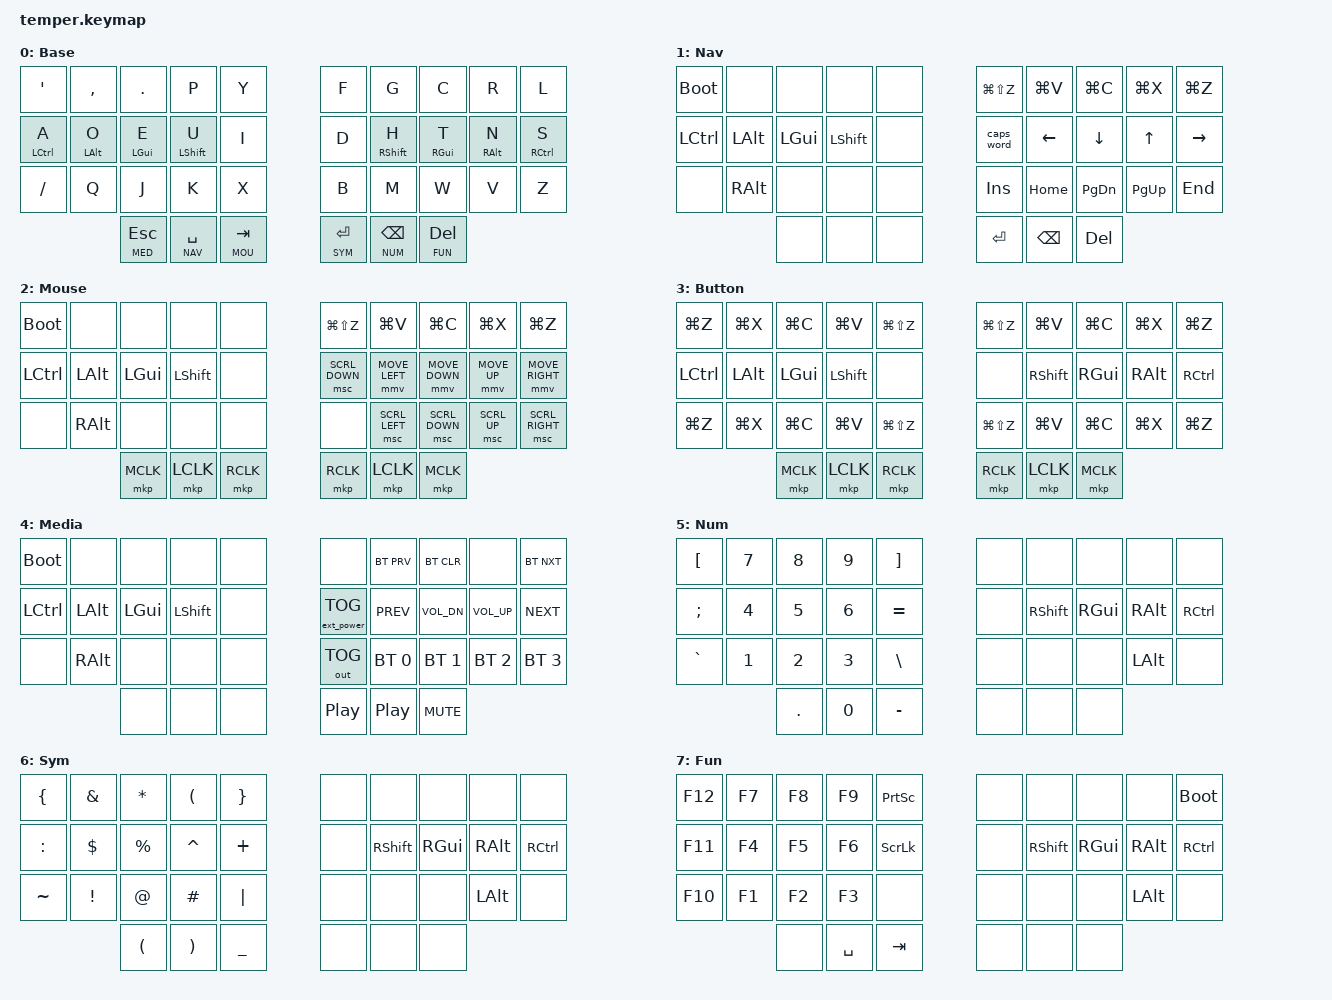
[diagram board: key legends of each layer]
/*
 * Copyright (c) 2020 The ZMK Contributors
 *
 * SPDX-License-Identifier: MIT
 */

#include <behaviors.dtsi>
#include <dt-bindings/zmk/keys.h>
#include <dt-bindings/zmk/bt.h>
#include <dt-bindings/zmk/ext_power.h>
#include <dt-bindings/zmk/outputs.h>
#include <dt-bindings/zmk/pointing.h>

#include "zmk-helpers/helper.h"
#include "zmk-helpers/key-labels/36.h"

#define QUICK_TAP_MS 175

#define BAS 0
#define NAV 1
#define MOU 2
#define BUT 3
#define MED 4
#define NUM 5
#define SYM 6
#define FUN 7

#define HRM_A &hml LEFT_CONTROL A
#define HRM_O &hml LEFT_ALT O
#define HRM_E &hml LEFT_GUI E
#define HRM_U &hml LEFT_SHIFT U

#define HRM_H &hmr RIGHT_SHIFT H
#define HRM_T &hmr RIGHT_GUI T
#define HRM_N &hmr RIGHT_ALT N
#define HRM_S &hmr RIGHT_CONTROL S

#define ESC_MED &lt MED ESC
#define SPA_NAV &lt NAV SPACE
#define TAB_MOU &lt MOU TAB
#define RET_SYM &lt SYM RET
#define BSC_NUM &lt NUM BSPC
#define DEL_FUN &lt FUN DEL

#define _COPY  &kp LG(C)
#define _PASTE &kp LG(V)
#define _CUT   &kp LG(X)
#define _UNDO  &kp LG(Z)
#define _REDO  &kp LG(LS(Z))

#define KEYS_L LT0 LT1 LT2 LT3 LT4 LM0 LM1 LM2 LM3 LM4 LB0 LB1 LB2 LB3 LB4
#define KEYS_R RT0 RT1 RT2 RT3 RT4 RM0 RM1 RM2 RM3 RM4 RB0 RB1 RB2 RB3 RB4
#define THUMBS LH2 LH1 LH0 RH0 RH1 RH2 // Thumbs on 36+ keys.

&lt {
  flavor = "balanced";
  tapping-term-ms = <200>;
  quick-tap-ms = <QUICK_TAP_MS>;
};

/ {
        behaviors {
                hml: home_row_mod_left {
                        compatible = "zmk,behavior-hold-tap";
                        #binding-cells = <2>;
                        flavor = "balanced";
                        require-prior-idle-ms = <150>;
                        tapping-term-ms = <280>;
                        quick-tap-ms = <175>;
                        bindings = <&kp>, <&kp>;
                        hold-trigger-key-positions = <KEYS_R THUMBS>; // List of keys on the right side of the keyboard
                        hold-trigger-on-release;
                };
                hmr: home_row_mod_right {
                        compatible = "zmk,behavior-hold-tap";
                        #binding-cells = <2>;
                        flavor = "balanced";
                        require-prior-idle-ms = <150>;
                        tapping-term-ms = <280>;
                        quick-tap-ms = <175>;
                        bindings = <&kp>, <&kp>;
                        hold-trigger-key-positions = <KEYS_L THUMBS>; // List of keys on the left side of the keyboard
                        hold-trigger-on-release;
                };
        };
        keymap {
                compatible = "zmk,keymap";

                base_layer {
                        display-name = "Base";
                        bindings = <
// ╭─────────────┬─────────────┬─────────────┬─────────────┬─────────────╮   ╭─────────────┬─────────────┬─────────────┬─────────────┬─────────────╮
      &kp QUOT      &kp COMMA    &kp PERIOD       &kp P         &kp Y             &kp F         &kp G         &kp C         &kp R         &kp L
// ├─────────────┼─────────────┼─────────────┼─────────────┼─────────────┤   ├─────────────┼─────────────┼─────────────┼─────────────┼─────────────┤
        HRM_A         HRM_O         HRM_E         HRM_U         &kp I             &kp D         HRM_H         HRM_T         HRM_N         HRM_S
// ├─────────────┼─────────────┼─────────────┼─────────────┼─────────────┤   ├─────────────┼─────────────┼─────────────┼─────────────┼─────────────┤
     &kp SLASH        &kp Q         &kp J         &kp K         &kp X             &kp B         &kp M         &kp W         &kp V         &kp Z
// ╰─────────────┴─────────────┼─────────────┼─────────────┼─────────────┤   ├─────────────┼─────────────┼─────────────┼─────────────┴─────────────╯
                                   ESC_MED       SPA_NAV       TAB_MOU           RET_SYM       BSC_NUM       DEL_FUN
//                             ╰─────────────┴─────────────┴─────────────╯   ╰─────────────┴─────────────┴─────────────╯
                        >;
                };
                nav_layer {
                        display-name = "Nav";
                        bindings = <
// ╭─────────────┬─────────────┬─────────────┬─────────────┬─────────────╮   ╭─────────────┬─────────────┬─────────────┬─────────────┬─────────────╮
     &bootloader      &none         &none         &none         &none             _REDO        _PASTE         _COPY         _CUT          _UNDO
// ├─────────────┼─────────────┼─────────────┼─────────────┼─────────────┤   ├─────────────┼─────────────┼─────────────┼─────────────┼─────────────┤
      &kp LCTRL      &kp LALT      &kp LGUI     &kp LSHFT       &none           &caps_word     &kp LEFT      &kp DOWN       &kp UP      &kp RIGHT
// ├─────────────┼─────────────┼─────────────┼─────────────┼─────────────┤   ├─────────────┼─────────────┼─────────────┼─────────────┼─────────────┤
        &none        &kp RALT       &none         &none         &none            &kp INS      &kp HOME      &kp PG_DN     &kp PG_UP      &kp END
// ╰─────────────┴─────────────┼─────────────┼─────────────┼─────────────┤   ├─────────────┼─────────────┼─────────────┼─────────────┴─────────────╯
                                    &none         &none         &none             &kp RET     &kp BSPC       &kp DEL
//                             ╰─────────────┴─────────────┴─────────────╯   ╰─────────────┴─────────────┴─────────────╯
                        >;
                };
                mouse_layer {
                        display-name = "Mouse";
                        bindings = <
// ╭─────────────┬─────────────┬─────────────┬─────────────┬─────────────╮   ╭─────────────┬─────────────┬─────────────┬─────────────┬─────────────╮
     &bootloader      &none         &none         &none         &none             _REDO        _PASTE         _COPY         _CUT          _UNDO
// ├─────────────┼─────────────┼─────────────┼─────────────┼─────────────┤   ├─────────────┼─────────────┼─────────────┼─────────────┼─────────────┤
      &kp LCTRL     &kp LALT      &kp LGUI      &kp LSHFT       &none        &msc SCRL_DOWN &mmv MOVE_LEFT &mmv MOVE_DOWN &mmv MOVE_UP &mmv MOVE_RIGHT
// ├─────────────┼─────────────┼─────────────┼─────────────┼─────────────┤   ├─────────────┼─────────────┼─────────────┼─────────────┼─────────────┤
        &none        &kp RALT       &none         &none         &none             &none     &msc SCRL_LEFT &msc SCRL_DOWN &msc SCRL_UP &msc SCRL_RIGHT
// ╰─────────────┴─────────────┼─────────────┼─────────────┼─────────────┤   ├─────────────┼─────────────┼─────────────┼─────────────┴─────────────╯
                                  &mkp MCLK     &mkp LCLK     &mkp RCLK         &mkp RCLK     &mkp LCLK     &mkp MCLK
//                             ╰─────────────┴─────────────┴─────────────╯   ╰─────────────┴─────────────┴─────────────╯
                        >;
                };
                button_layer {
                        display-name = "Button";
                        bindings = <
// ╭─────────────┬─────────────┬─────────────┬─────────────┬─────────────╮   ╭─────────────┬─────────────┬─────────────┬─────────────┬─────────────╮
        _UNDO         _CUT          _COPY        _PASTE         _REDO             _REDO        _PASTE         _COPY          _CUT         _UNDO
// ├─────────────┼─────────────┼─────────────┼─────────────┼─────────────┤   ├─────────────┼─────────────┼─────────────┼─────────────┼─────────────┤
      &kp LCTRL      &kp LALT      &kp LGUI     &kp LSHFT       &none             &none       &kp RSHFT      &kp RGUI     &kp RALT     &kp RCTRL
// ├─────────────┼─────────────┼─────────────┼─────────────┼─────────────┤   ├─────────────┼─────────────┼─────────────┼─────────────┼─────────────┤
        _UNDO         _CUT          _COPY        _PASTE         _REDO             _REDO        _PASTE         _COPY          _CUT         _UNDO
// ╰─────────────┴─────────────┼─────────────┼─────────────┼─────────────┤   ├─────────────┼─────────────┼─────────────┼─────────────┴─────────────╯
                                  &mkp MCLK     &mkp LCLK     &mkp RCLK         &mkp RCLK     &mkp LCLK     &mkp MCLK
//                             ╰─────────────┴─────────────┴─────────────╯   ╰─────────────┴─────────────┴─────────────╯
                        >;
                };
                media_layer {
                        display-name = "Media";
                        bindings = <
// ╭─────────────┬─────────────┬─────────────┬─────────────┬─────────────╮   ╭─────────────┬─────────────┬─────────────┬─────────────┬─────────────╮
     &bootloader      &none         &none         &none         &none             &none       &bt BT_PRV    &bt BT_CLR      &none       &bt BT_NXT
// ├─────────────┼─────────────┼─────────────┼─────────────┼─────────────┤   ├─────────────┼─────────────┼─────────────┼─────────────┼─────────────┤
      &kp LCTRL     &kp LALT      &kp LGUI      &kp LSHFT       &none      &ext_power EP_TOG  &kp C_PREV   &kp C_VOL_DN &kp C_VOL_UP    &kp C_NEXT
// ├─────────────┼─────────────┼─────────────┼─────────────┼─────────────┤   ├─────────────┼─────────────┼─────────────┼─────────────┼─────────────┤
        &none        &kp RALT       &none         &none         &none         &out OUT_TOG   &bt BT_SEL 0  &bt BT_SEL 1  &bt BT_SEL 2  &bt BT_SEL 3
// ╰─────────────┴─────────────┼─────────────┼─────────────┼─────────────┤   ├─────────────┼─────────────┼─────────────┼─────────────┴─────────────╯
                                    &none         &none         &none           &kp C_PP      &kp C_PP     &kp C_MUTE
//                             ╰─────────────┴─────────────┴─────────────╯   ╰─────────────┴─────────────┴─────────────╯
                        >;
                };
                num_layer {
                        display-name = "Num";
                        bindings = <
// ╭─────────────┬─────────────┬─────────────┬─────────────┬─────────────╮   ╭─────────────┬─────────────┬─────────────┬─────────────┬─────────────╮
       &kp LBKT       &kp N7       &kp N8        &kp N9       &kp RBKT            &none         &none         &none         &none         &none
// ├─────────────┼─────────────┼─────────────┼─────────────┼─────────────┤   ├─────────────┼─────────────┼─────────────┼─────────────┼─────────────┤
       &kp SEMI       &kp N4       &kp N5        &kp N6       &kp EQUAL           &none       &kp RSHFT     &kp RGUI      &kp RALT      &kp RCTRL
// ├─────────────┼─────────────┼─────────────┼─────────────┼─────────────┤   ├─────────────┼─────────────┼─────────────┼─────────────┼─────────────┤
      &kp GRAVE       &kp N1       &kp N2        &kp N3       &kp BSLH            &none         &none         &none        &kp LALT       &none
// ╰─────────────┴─────────────┼─────────────┼─────────────┼─────────────┤   ├─────────────┼─────────────┼─────────────┼─────────────┴─────────────╯
                                   &kp DOT       &kp N0       &kp MINUS           &none         &none         &none
//                             ╰─────────────┴─────────────┴─────────────╯   ╰─────────────┴─────────────┴─────────────╯
                        >;
                };
                sym_layer {
                        display-name = "Sym";
                        bindings = <
// ╭─────────────┬─────────────┬─────────────┬─────────────┬─────────────╮   ╭─────────────┬─────────────┬─────────────┬─────────────┬─────────────╮
        &kp LBRC     &kp AMPS     &kp STAR      &kp LPAR      &kp RBRC            &none         &none         &none         &none         &none
// ├─────────────┼─────────────┼─────────────┼─────────────┼─────────────┤   ├─────────────┼─────────────┼─────────────┼─────────────┼─────────────┤
      &kp COLON      &kp DLLR     &kp PRCNT     &kp CARET     &kp PLUS            &none       &kp RSHFT     &kp RGUI       &kp RALT     &kp RCTRL
// ├─────────────┼─────────────┼─────────────┼─────────────┼─────────────┤   ├─────────────┼─────────────┼─────────────┼─────────────┼─────────────┤
      &kp TILDE     &kp EXCL       &kp AT       &kp POUND     &kp PIPE            &none         &none         &none        &kp LALT       &none
// ╰─────────────┴─────────────┼─────────────┼─────────────┼─────────────┤   ├─────────────┼─────────────┼─────────────┼─────────────┴─────────────╯
                                  &kp LPAR      &kp RPAR      &kp UNDER           &none         &none         &none
//                             ╰─────────────┴─────────────┴─────────────╯   ╰─────────────┴─────────────┴─────────────╯
                        >;
                };
                fun_layer {
                        display-name = "Fun";
                        bindings = <
// ╭─────────────┬─────────────┬─────────────┬─────────────┬─────────────╮   ╭─────────────┬─────────────┬─────────────┬─────────────┬─────────────╮
        &kp F12      &kp F7        &kp F8        &kp F9       &kp PSCRN           &none         &none         &none         &none      &bootloader
// ├─────────────┼─────────────┼─────────────┼─────────────┼─────────────┤   ├─────────────┼─────────────┼─────────────┼─────────────┼─────────────┤
        &kp F11      &kp F4        &kp F5        &kp F6       &kp SLCK            &none       &kp RSHFT     &kp RGUI      &kp RALT      &kp RCTRL
// ├─────────────┼─────────────┼─────────────┼─────────────┼─────────────┤   ├─────────────┼─────────────┼─────────────┼─────────────┼─────────────┤
        &kp F10      &kp F1        &kp F2        &kp F3         &none             &none         &none         &none        &kp LALT       &none
// ╰─────────────┴─────────────┼─────────────┼─────────────┼─────────────┤   ├─────────────┼─────────────┼─────────────┼─────────────┴─────────────╯
                                    &none       &kp SPACE      &kp TAB            &none         &none         &none
//                             ╰─────────────┴─────────────┴─────────────╯   ╰─────────────┴─────────────┴─────────────╯
                        >;
                };
        };
};
